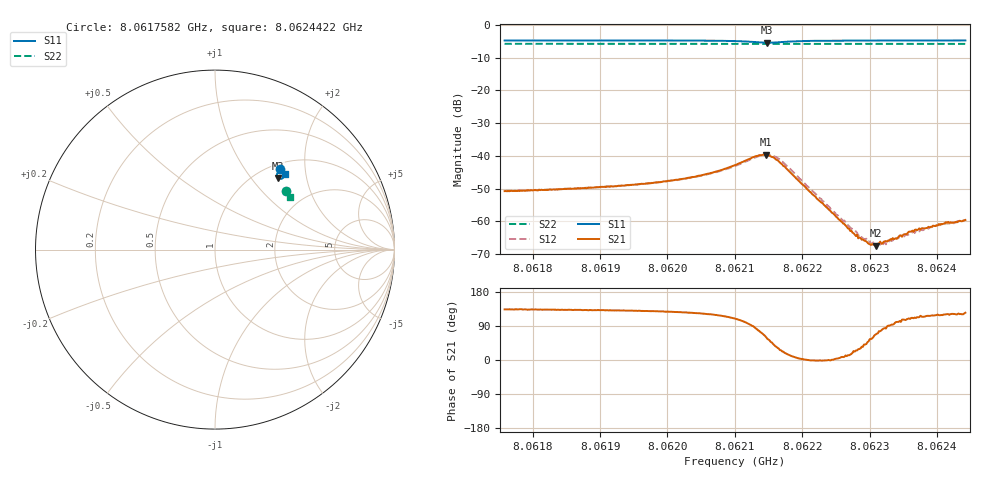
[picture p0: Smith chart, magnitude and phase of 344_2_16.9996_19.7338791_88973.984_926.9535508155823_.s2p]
#  HZ  S  RI  R  50.00
! Rohde & Schwarz Vector Network Analyzer
! Rohde-Schwarz,ZNB20-2Port,1311601062101988,3.16
! Created: UTC 3/20/2024, 11:07:27 PM
! freq[Hz]  re:S11  im:S11  re:S21  im:S21  re:S12  im:S12  re:S22  im:S22
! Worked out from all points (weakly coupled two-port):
!   401 points, 8.0617582 GHz to 8.0624422 GHz, reference 50 ohm
!   highest |S21| = -39.63 dB at 8.0621464 GHz (marker M1); lowest = -67.4 dB at 8.0623088 GHz (marker M2)
!   lowest |S11| = -5.5 dB at 8.0621481 GHz (marker M3), VSWR 3.27, Z = 62.2 + j69 ohm
!   |S11| at or under -10 dB: nowhere
!   |S22| runs from -5.9 to -5.8 dB; largest |S21 - S12| = 0.00099
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8.0617582e9  0.3615 0.4485  -0.00199 0.00209  -0.00189 0.00222  0.3945 0.3258
8.06187277e9  0.369 0.4422  -0.00214 0.00239  -0.00202 0.00256  0.3988 0.3201
8.06198734e9  0.3772 0.4341  -0.00246 0.00311  -0.00227 0.00323  0.4031 0.3145
8.06205061e9  0.3825 0.4263  -0.00272 0.00425  -0.00246 0.00435  0.4056 0.311
8.0621002e9  0.3852 0.4124  -0.00237 0.0068  -0.00213 0.00667  0.4072 0.3081
8.06212927e9  0.3743 0.3968  0.000648 0.00968  0.000382 0.00932  0.4076 0.3061
8.06214637e9  0.355 0.3968  0.00516 0.00907  0.00459 0.00942  0.4074 0.3055
8.06214808e9  0.3531 0.3979  0.00572 0.00853  0.00509 0.00912  0.4072 0.3054
8.06216005e9  0.3449 0.4108  0.0072 0.00534  0.00731 0.00628  0.4073 0.3054
8.0621686e9  0.3452 0.4201  0.00686 0.00328  0.00744 0.00387  0.4076 0.3055
8.06221477e9  0.3653 0.4352  0.0026 -3.86e-05  0.00293 -0.000179  0.4103 0.304
8.0622541e9  0.3743 0.4336  0.00107 8.85e-05  0.00118 3.64e-06  0.412 0.3018
8.06227975e9  0.3782 0.4319  0.000537 0.000254  0.000663 0.000216  0.4132 0.3006
8.06228659e9  0.3791 0.4315  0.000476 0.000283  0.00053 0.000232  0.4135 0.3
8.06230027e9  0.3806 0.4305  0.000256 0.000365  0.000332 0.000351  0.4139 0.2994
8.06230882e9  0.3815 0.43  0.000165 0.000393  0.000215 0.000366  0.4143 0.2991
8.06232079e9  0.3828 0.4293  5.74e-05 0.000483  0.000102 0.000455  0.4147 0.2984
8.06232934e9  0.3835 0.4287  -4.26e-06 0.000513  7.31e-05 0.000503  0.415 0.2979
8.06237038e9  0.3871 0.4263  -0.000287 0.000672  -0.000202 0.000693  0.4165 0.2958
8.06240117e9  0.3894 0.4245  -0.00043 0.00075  -0.000358 0.000799  0.4176 0.2942
8.06241314e9  0.3902 0.4238  -0.000489 0.000833  -0.000425 0.000843  0.4178 0.2935
8.06244221e9  0.3921 0.4222  -0.000599 0.000862  -0.000524 0.0009  0.419 0.292
